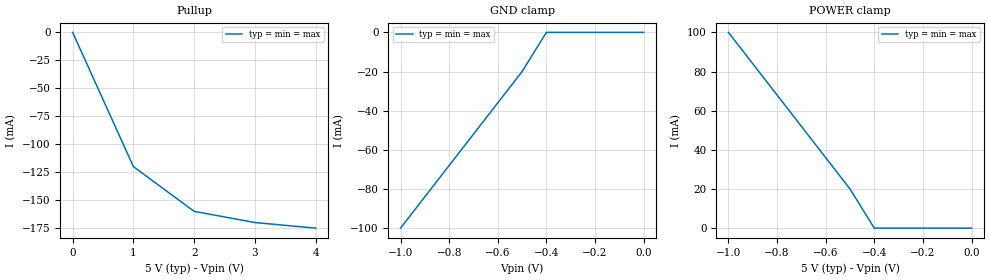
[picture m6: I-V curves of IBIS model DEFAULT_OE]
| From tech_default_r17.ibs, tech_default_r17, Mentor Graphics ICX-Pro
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[Model]		DEFAULT_OE
Model_type	Open_source
Polarity	Non-Inverting
Enable		Active-High
Vmeas = 2.500000V
Cref = 50.000000pF
Vref = 0.0V
Rref = 0.250000k
|		typ		min		max
C_comp		5.500000pF		2.000000pF		8.000000pF
|			typ		min		max
[voltage range]	5.000000V		4.500000V		5.500000V
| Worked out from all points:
|   slope of the pullup table from 0 to 0.75 V, typ, clamps not added: 8.33 ohm
|   GND clamp passes 1 mA (typ) near -0.41 V on its own axis
|   POWER clamp passes 1 mA (typ) near -0.41 V on its own axis
[Pullup]
|	Voltage		I(typ)		I(min)		I(max)
0V        0A         0A         0A
1V        -120mA     -120mA     -120mA
2V        -160mA     -160mA     -160mA
3V        -170mA     -170mA     -170mA
4V        -175mA     -175mA     -175mA
[Gnd Clamp]
|	Voltage		I(typ)		I(min)		I(max)
-1V       -100mA     -100mA     -100mA
-500mV    -20mA      -20mA      -20mA
-400mV    0A         0A         0A
0V        0A         0A         0A
[Power Clamp]
|	Voltage		I(typ)		I(min)		I(max)
-1V       100mA      100mA      100mA
-500mV    20mA       20mA       20mA
-400mV    0A         0A         0A
0V        0A         0A         0A
[Ramp]
|  variable	typ		min		max
dV/dt_r		2/1.200000ns	2/1.500000ns	2/1.000000ns
dV/dt_f		2/1.200000ns	2/1.500000ns	2/1.000000ns
R_load = 	50Ohms
